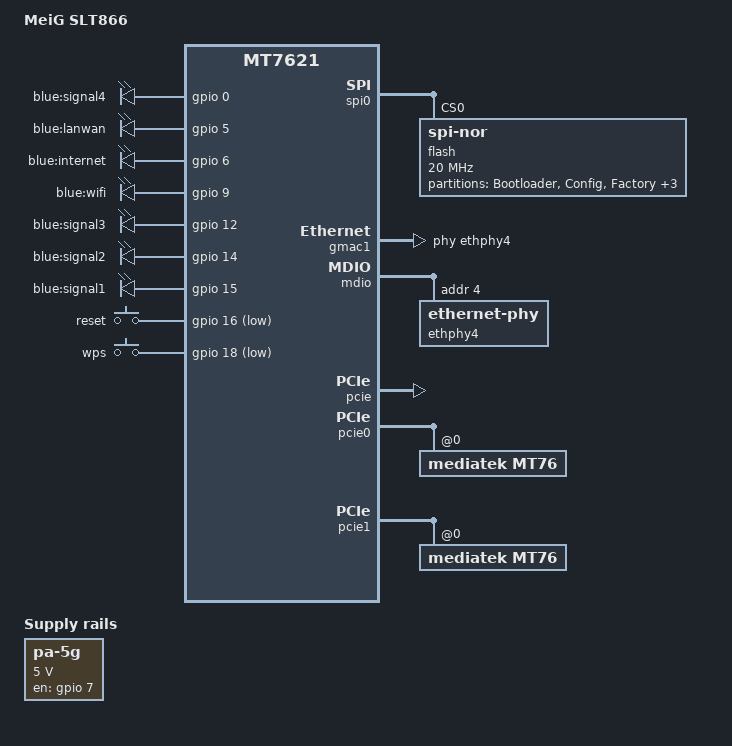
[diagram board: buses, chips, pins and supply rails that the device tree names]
#include "mt7621.dtsi"
#include <dt-bindings/gpio/gpio.h>
#include <dt-bindings/input/input.h>
#include <dt-bindings/leds/common.h>

/ {
	compatible = "meig,slt866", "mediatek,mt7621-soc";
	model = "MeiG SLT866";

	aliases {
		led-boot = &led_internet;
		led-failsafe = &led_internet;
		led-upgrade = &led_internet;
		label-mac-device = &gmac1;
	};

	leds {
		compatible = "gpio-leds";

		signal4 {
			label = "blue:signal4";
			gpios = <&gpio 0 GPIO_ACTIVE_HIGH>;
		};

		lanwan {
			label = "blue:lanwan";
			gpios = <&gpio 5 GPIO_ACTIVE_HIGH>;
		};

		led_internet: internet {
			label = "blue:internet";
			gpios = <&gpio 6 GPIO_ACTIVE_HIGH>;
		};

		wifi {
			label = "blue:wifi";
			gpios = <&gpio 9 GPIO_ACTIVE_HIGH>;
			linux,default-trigger = "phy0tpt";
		};

		signal3 {
			label = "blue:signal3";
			gpios = <&gpio 12 GPIO_ACTIVE_HIGH>;
		};

		signal2 {
			label = "blue:signal2";
			gpios = <&gpio 14 GPIO_ACTIVE_HIGH>;
		};

		signal1 {
			label = "blue:signal1";
			gpios = <&gpio 15 GPIO_ACTIVE_HIGH>;
		};
	};

	keys {
		compatible = "gpio-keys";

		reset {
			label = "reset";
			gpios = <&gpio 16 GPIO_ACTIVE_LOW>;
			linux,code = <KEY_RESTART>;
		};

		wps {
			label = "wps";
			gpios = <&gpio 18 GPIO_ACTIVE_LOW>;
			linux,code = <KEY_WPS_BUTTON>;
		};
	};

	regulator-pa-5g {
		compatible = "regulator-fixed";
		regulator-name = "pa-5g";
		regulator-min-microvolt = <5000000>;
		regulator-max-microvolt = <5000000>;
		gpio = <&gpio 7 GPIO_ACTIVE_HIGH>;
		enable-active-high;
		regulator-boot-on;
		regulator-always-on;
	};
};

&state_default {
	gpio {
		groups = "jtag", "uart2", "uart3", "wdt";
		function = "gpio";
	};
};

&spi0 {
	status = "okay";

	flash@0 {
		reg = <0>;
		compatible = "jedec,spi-nor";
		spi-max-frequency = <20000000>;

		partitions {
			compatible = "fixed-partitions";
			#address-cells = <1>;
			#size-cells = <1>;

			partition@0 {
				label = "Bootloader";
				reg = <0x0 0x30000>;
				read-only;
			};

			partition@30000 {
				label = "Config";
				reg = <0x30000 0x10000>;
			};

			partition@40000 {
				label = "Factory";
				reg = <0x40000 0x10000>;
				read-only;

				nvmem-layout {
					compatible = "fixed-layout";
					#address-cells = <1>;
					#size-cells = <1>;

					eeprom_factory_0: eeprom@0 {
						reg = <0x0 0x200>;
					};

					eeprom_factory_8000: eeprom@8000 {
						reg = <0x8000 0x4da8>;
					};
				};
			};

			partition@50000 {
				label = "firmware";
				compatible = "denx,uimage";
				reg = <0x50000 0xf90000>;
			};

			partition@fe0000 {
				label = "m_custom";
				reg = <0xfe0000 0x20000>;
				read-only;

				nvmem-layout {
					compatible = "fixed-layout";

					#address-cells = <1>;
					#size-cells = <1>;

					macaddr_custom_0: macaddr@0 {
						reg = <0x0 0xc>;
						compatible = "mac-base";
						#nvmem-cell-cells = <1>;
					};

					macaddr_custom_40: macaddr@40 {
						reg = <0x40 0xc>;
						compatible = "mac-base";
						#nvmem-cell-cells = <1>;
					};

					macaddr_custom_100: macaddr@100 {
						reg = <0x100 0xc>;
						compatible = "mac-base";
						#nvmem-cell-cells = <1>;
					};

					macaddr_custom_140: macaddr@140 {
						reg = <0x140 0xc>;
						compatible = "mac-base";
						#nvmem-cell-cells = <1>;
					};
				};
			};

			partition@1000000 {
				label = "fota_bak";
				reg = <0x1000000 0x1000000>;
				read-only;
			};
		};
	};
};

&ethernet {
	pinctrl-names = "default";
	pinctrl-0 = <&mdio_pins>;
};

&gmac0 {
	nvmem-cells = <&macaddr_custom_40 0>;
	nvmem-cell-names = "mac-address";
};

&gmac1 {
	status = "okay";
	label = "wan";
	phy-handle = <&ethphy4>;

	nvmem-cells = <&macaddr_custom_0 0>;
	nvmem-cell-names = "mac-address";
};

&mdio {
	ethphy4: ethernet-phy@4 {
		reg = <4>;
	};
};

&switch0 {
	ports {
		port@3 {
			status = "okay";
			label = "lan";
		};
	};
};

&pcie {
	status = "okay";
};

&pcie0 {
	mt76@0,0 {
		compatible = "mediatek,mt76";
		reg = <0x0000 0 0 0 0>;
		nvmem-cells = <&eeprom_factory_0>, <&macaddr_custom_100 0>;
		nvmem-cell-names = "eeprom", "mac-address";
	};
};

&pcie1 {
	mt76@0,0 {
		compatible = "mediatek,mt76";
		reg = <0x0000 0 0 0 0>;
		ieee80211-freq-limit = <5000000 6000000>;
		nvmem-cells = <&eeprom_factory_8000>, <&macaddr_custom_140 0>;
		nvmem-cell-names = "eeprom", "mac-address";
	};
};
